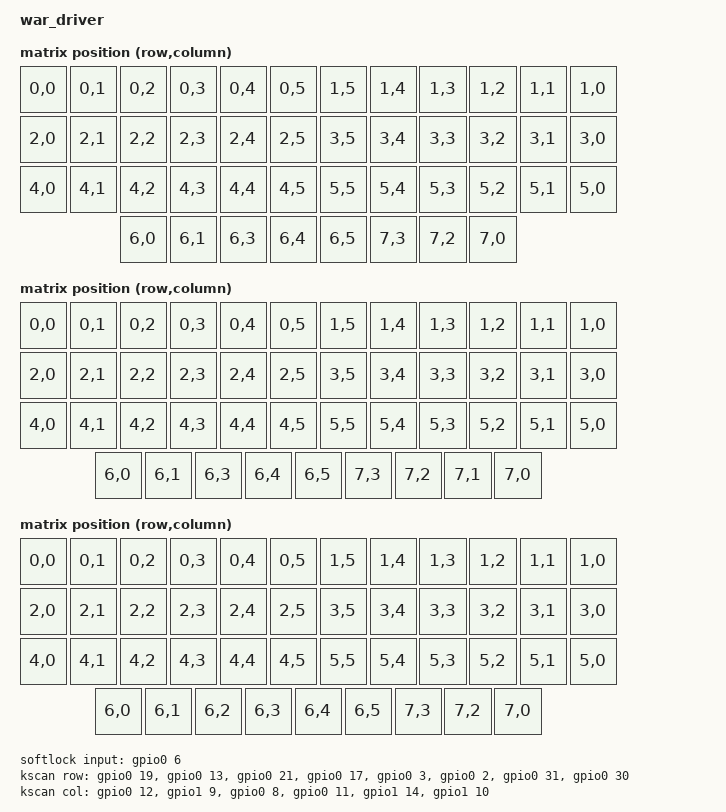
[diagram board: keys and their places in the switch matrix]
/*
 * Copyright (c) 2022 Pete Johanson
 *
 * SPDX-License-Identifier: MIT
 */

/dts-v1/;
#include <nordic/nrf52840_qiaa.dtsi>
#include <dt-bindings/zmk/matrix_transform.h>

/ {
	model = "war_driver";
	compatible = "lpgalaxy,war_driver";

	chosen {
		zephyr,code-partition = &code_partition;
		zephyr,sram = &sram0;
		zephyr,flash = &flash0;
		zmk,kscan = &kscan;
		zmk,matrix_transform = &standard_transform;
		zmk,battery = &vbatt;
		zephyr,console = &cdc_acm_uart0;
	};

	aliases {
		led0 = &blue_led;
	};

	leds {
		compatible = "gpio-leds";
		blue_led: led_0 {
			gpios = <&gpio0 16 GPIO_ACTIVE_HIGH>;
			label = "Blue LED";
		};
	};

	vbatt: vbatt {
		compatible = "zmk,battery-nrf-vddh";
		label = "BATTERY";
	};

	softlock {
		compatible = "zmk,soft-locker-gpio";

		input-gpios = <&gpio0 6 (GPIO_ACTIVE_LOW | GPIO_PULL_UP)>;
		wakeup-sources = <&kscan>;
	};

	standard_transform: standard_transform {
		compatible = "zmk,matrix-transform";
		rows = <4>;
		columns = <12>;

		map = <
	RC(0,0) RC(0,1) RC(0,2) RC(0,3) RC(0,4) RC(0,5) RC(1,5) RC(1,4) RC(1,3) RC(1,2) RC(1,1)     RC(1,0)
	RC(2,0)   RC(2,1) RC(2,2) RC(2,3) RC(2,4) RC(2,5) RC(3,5) RC(3,4) RC(3,3) RC(3,2) RC(3,1)   RC(3,0)
	RC(4,0)     RC(4,1) RC(4,2) RC(4,3) RC(4,4) RC(4,5) RC(5,5) RC(5,4) RC(5,3) RC(5,2) RC(5,1) RC(5,0)
	RC(6,0)    RC(6,1)    RC(6,3)          RC(6,4)     RC(6,5)       RC(7,3)     RC(7,2)        RC(7,0)
	>;
	};

	arrows_transform: standard_transform {
		compatible = "zmk,matrix-transform";
		rows = <4>;
		columns = <12>;

		map = <
	RC(0,0) RC(0,1) RC(0,2) RC(0,3) RC(0,4) RC(0,5) RC(1,5) RC(1,4) RC(1,3) RC(1,2) RC(1,1)     RC(1,0)
	RC(2,0)   RC(2,1) RC(2,2) RC(2,3) RC(2,4) RC(2,5) RC(3,5) RC(3,4) RC(3,3) RC(3,2) RC(3,1)   RC(3,0)
	RC(4,0)     RC(4,1) RC(4,2) RC(4,3) RC(4,4) RC(4,5) RC(5,5) RC(5,4) RC(5,3) RC(5,2) RC(5,1) RC(5,0)
	RC(6,0)    RC(6,1)    RC(6,3)          RC(6,4)     RC(6,5)       RC(7,3)    RC(7,2) RC(7,1) RC(7,0)
	>;
	};

	southpaw_transform: standard_transform {
		compatible = "zmk,matrix-transform";
		rows = <4>;
		columns = <12>;

		map = <
	RC(0,0) RC(0,1) RC(0,2) RC(0,3) RC(0,4) RC(0,5) RC(1,5) RC(1,4) RC(1,3) RC(1,2) RC(1,1)     RC(1,0)
	RC(2,0)   RC(2,1) RC(2,2) RC(2,3) RC(2,4) RC(2,5) RC(3,5) RC(3,4) RC(3,3) RC(3,2) RC(3,1)   RC(3,0)
	RC(4,0)     RC(4,1) RC(4,2) RC(4,3) RC(4,4) RC(4,5) RC(5,5) RC(5,4) RC(5,3) RC(5,2) RC(5,1) RC(5,0)
	RC(6,0)    RC(6,1) RC(6,2)   RC(6,3)   RC(6,4)     RC(6,5)       RC(7,3)     RC(7,2)        RC(7,0)
	>;
	};

	southpaw_arrows_transform: standard_transform {
		compatible = "zmk,matrix-transform";
		rows = <4>;
		columns = <12>;

		map = <
	RC(0,0) RC(0,1) RC(0,2) RC(0,3) RC(0,4) RC(0,5) RC(1,5) RC(1,4) RC(1,3) RC(1,2) RC(1,1)     RC(1,0)
	RC(2,0)   RC(2,1) RC(2,2) RC(2,3) RC(2,4) RC(2,5) RC(3,5) RC(3,4) RC(3,3) RC(3,2) RC(3,1)   RC(3,0)
	RC(4,0)     RC(4,1) RC(4,2) RC(4,3) RC(4,4) RC(4,5) RC(5,5) RC(5,4) RC(5,3) RC(5,2) RC(5,1) RC(5,0)
	RC(6,0)    RC(6,1) RC(6,2)   RC(6,3)   RC(6,4)     RC(6,5)       RC(7,3)    RC(7,2) RC(7,1) RC(7,0)
	>;
	};
	
	kscan: kscan {
		compatible = "zmk,kscan-gpio-matrix";
		wakeup-source;
		label = "KSCAN";
		debounce-press-ms = <1>;
		debounce-release-ms = <5>;

		diode-direction = "col2row";

		col-gpios
			= <&gpio0 12 (GPIO_ACTIVE_HIGH)>
			, <&gpio1 9  (GPIO_ACTIVE_HIGH)>
			, <&gpio0 8  (GPIO_ACTIVE_HIGH)>
			, <&gpio0 11 (GPIO_ACTIVE_HIGH)>
			, <&gpio1 14 (GPIO_ACTIVE_HIGH)>
			, <&gpio1 10 (GPIO_ACTIVE_HIGH)>
			;
		row-gpios
			= <&gpio0 19 (GPIO_ACTIVE_HIGH | GPIO_PULL_DOWN)>
			, <&gpio0 13 (GPIO_ACTIVE_HIGH | GPIO_PULL_DOWN)>
			, <&gpio0 21 (GPIO_ACTIVE_HIGH | GPIO_PULL_DOWN)>
			, <&gpio0 17 (GPIO_ACTIVE_HIGH | GPIO_PULL_DOWN)>
			, <&gpio0 3  (GPIO_ACTIVE_HIGH | GPIO_PULL_DOWN)>
			, <&gpio0 2  (GPIO_ACTIVE_HIGH | GPIO_PULL_DOWN)>
			, <&gpio0 31 (GPIO_ACTIVE_HIGH | GPIO_PULL_DOWN)>
			, <&gpio0 30 (GPIO_ACTIVE_HIGH | GPIO_PULL_DOWN)>
			;
	};
};

&adc {
	status = "okay";
};

&gpiote {
	status = "okay";
};

&gpio0 {
	status = "okay";
};

&gpio1 {
	status = "okay";
};


&usbd {
	status = "okay";
	cdc_acm_uart0: cdc_acm_uart0 {
		compatible = "zephyr,cdc-acm-uart";
		label = "CDC_ACM_0";
	};
}; 


&flash0 {
	/*
	 * For more information, see:
	 * http://docs.zephyrproject.org/latest/devices/dts/flash_partitions.html
	 */
	partitions {
		compatible = "fixed-partitions";
		#address-cells = <1>;
		#size-cells = <1>;

		sd_partition: partition@0 {
			label = "mbr";
			reg = <0x00000000 0x00001000>;
		};
		code_partition: partition@1000 {
			label = "code_partition";
			reg = <0x00001000 0x000d3000>;
		};

		storage_partition: partition@d4000 {
			label = "storage";
			reg = <0x000d4000 0x00020000>;
		};

		boot_partition: partition@f4000 {
			label = "adafruit_boot";
			reg = <0x000f4000 0x0000c000>;
		};
	};
};
